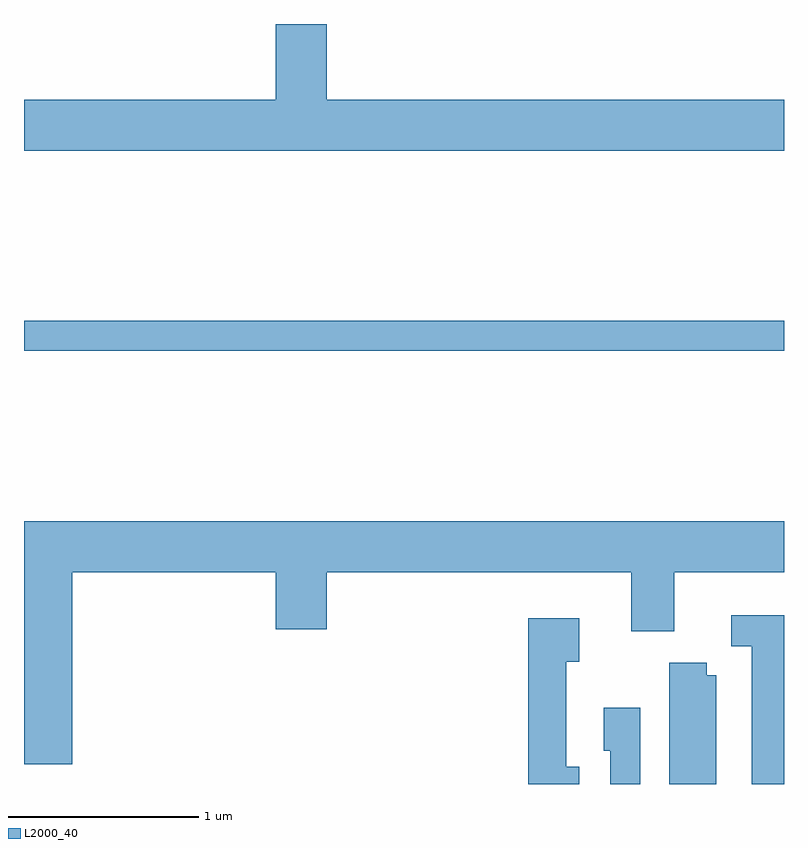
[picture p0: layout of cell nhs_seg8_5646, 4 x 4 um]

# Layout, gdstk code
import gdstk
lib = gdstk.Library(unit=1e-6, precision=1e-09)
def R(c, l, rs):  # rectangles x0, y0, x1, y1
    for r in rs: c.add(gdstk.rectangle(r[:2], r[2:], *l))
def P(c, l, *ps):  # polygons
    for p in ps: c.add(gdstk.Polygon(p, *l))
L2000_40 = (2000, 40)

nhs_seg8_5646 = lib.new_cell('nhs_seg8_5646')
R(nhs_seg8_5646, L2000_40, [(353.611,1908.621,357.611,1908.779)])
P(nhs_seg8_5646, L2000_40, [(357.611,1909.944),(355.204,1909.944),(355.204,1910.342),(354.936,1910.342),(354.936,1909.944),(353.611,1909.944),(353.611,1909.676),(357.611,1909.676)],
  [(353.864,1907.456),(354.936,1907.456),(354.936,1907.156),(355.204,1907.156),(355.204,1907.456),(356.806,1907.456),(356.806,1907.146),(357.034,1907.146),(357.034,1907.456),(357.611,1907.456),(357.611,1907.724),(353.611,1907.724),(353.611,1906.446),(353.864,1906.446)],
  [(357.611,1907.229),(357.333,1907.229),(357.333,1907.066),(357.441,1907.066),(357.441,1906.342),(357.611,1906.342)],
  [(356.534,1906.434),(356.464,1906.434),(356.464,1906.986),(356.534,1906.986),(356.534,1907.214),(356.266,1907.214),(356.266,1906.342),(356.534,1906.342)],
  [(357.254,1906.914),(357.204,1906.914),(357.204,1906.979),(357.006,1906.979),(357.006,1906.342),(357.254,1906.342)],
  [(356.854,1906.744),(356.661,1906.744),(356.661,1906.516),(356.696,1906.516),(356.696,1906.342),(356.854,1906.342)])

lib.write_gds('nhs_seg8_5646.gds')
